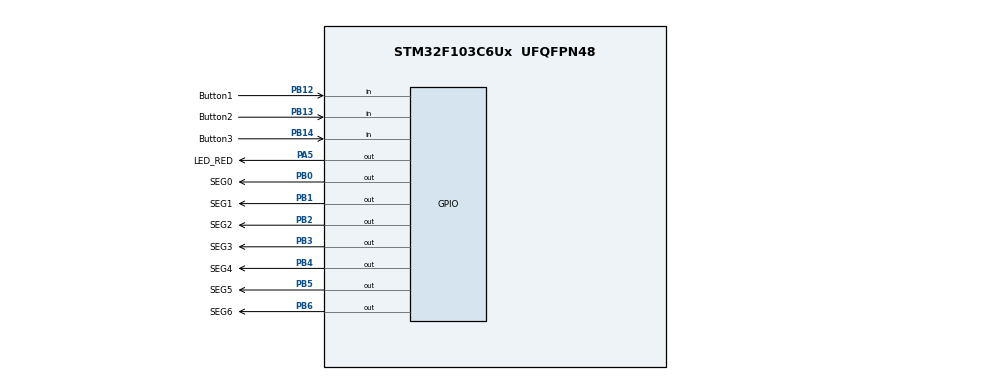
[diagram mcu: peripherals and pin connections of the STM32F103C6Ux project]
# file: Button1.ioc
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Mcu.Family=STM32F1
Mcu.Name=STM32F103C6Ux
Mcu.Package=UFQFPN48
NVIC.PriorityGroup=NVIC_PRIORITYGROUP_4
NVIC.TIM2_IRQn=true\:0\:0\:false\:false\:true\:true\:true
PA5.GPIO_Label=LED_RED
PA5.Signal=GPIO_Output
PB0.GPIO_Label=SEG0
PB0.Signal=GPIO_Output
PB1.GPIO_Label=SEG1
PB1.Signal=GPIO_Output
PB12.GPIO_Label=Button1
PB12.GPIO_PuPd=GPIO_PULLUP
PB12.Signal=GPIO_Input
PB13.GPIO_Label=Button2
PB13.GPIO_PuPd=GPIO_PULLUP
PB13.Signal=GPIO_Input
PB14.GPIO_Label=Button3
PB14.GPIO_PuPd=GPIO_PULLUP
PB14.Signal=GPIO_Input
PB2.GPIO_Label=SEG2
PB2.Signal=GPIO_Output
PB3.GPIO_Label=SEG3
PB3.Signal=GPIO_Output
PB4.GPIO_Label=SEG4
PB4.Signal=GPIO_Output
PB5.GPIO_Label=SEG5
PB5.Signal=GPIO_Output
PB6.GPIO_Label=SEG6
PB6.Signal=GPIO_Output
ProjectManager.HeapSize=0x200
ProjectManager.StackSize=0x400
ProjectManager.TargetToolchain=STM32CubeIDE
RCC.APB1Freq_Value=8000000
RCC.APB2Freq_Value=8000000
TIM2.Period=9
TIM2.Prescaler=7999
VP_SYS_VS_ND.Mode=No_Debug
VP_TIM2_VS_ClockSourceINT.Mode=Internal
board=custom

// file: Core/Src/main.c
/* USER CODE BEGIN Header */
/**
  ******************************************************************************
  * @file           : main.c
  * @brief          : Main program body
  ******************************************************************************
  * @attention
  *
  * <h2><center>&copy; Copyright (c) 2022 STMicroelectronics.
  * All rights reserved.</center></h2>
  *
  * This software component is licensed by ST under BSD 3-Clause license,
  * the "License"; You may not use this file except in compliance with the
  * License. You may obtain a copy of the License at:
  *                        opensource.org/licenses/BSD-3-Clause
  *
  ******************************************************************************
  */
/* USER CODE END Header */
#include "main.h"

/* USER CODE BEGIN Includes */
#include "Software_timer.h"
#include "button.h"
#include "State_Machine.h"
#include "Display.h"
#include "global.h"
/* USER CODE END Includes */

TIM_HandleTypeDef htim2;

void SystemClock_Config(void);
static void MX_GPIO_Init(void);
static void MX_TIM2_Init(void);

int main(void)
{

  /* MCU Configuration--------------------------------------------------------*/

  /* Reset of all peripherals, Initializes the Flash interface and the Systick. */
  HAL_Init();

  /* Configure the system clock */
  SystemClock_Config();

  /* Initialize all configured peripherals */
  MX_GPIO_Init();
  MX_TIM2_Init();
  /* USER CODE BEGIN 2 */
  HAL_TIM_Base_Start_IT (&htim2);
  /* USER CODE END 2 */

  /* Infinite loop */
  /* USER CODE BEGIN WHILE */
  status=INIT;

  setTimer2(10);
  setTimer3(10);
  while (1)
  {
	  display7SEG(Counter);
	  Blink_Red_Led();
	  fsm_simple_buttons_run();
	  fsm_long_press_run();

    /* USER CODE END WHILE */

  }
}

void SystemClock_Config(void)
{
  RCC_OscInitTypeDef RCC_OscInitStruct = {0};
  RCC_ClkInitTypeDef RCC_ClkInitStruct = {0};

  /** Initializes the RCC Oscillators according to the specified parameters
  * in the RCC_OscInitTypeDef structure.
  */
  RCC_OscInitStruct.OscillatorType = RCC_OSCILLATORTYPE_HSI;
  RCC_OscInitStruct.HSIState = RCC_HSI_ON;
  RCC_OscInitStruct.HSICalibrationValue = RCC_HSICALIBRATION_DEFAULT;
  RCC_OscInitStruct.PLL.PLLState = RCC_PLL_NONE;
  if (HAL_RCC_OscConfig(&RCC_OscInitStruct) != HAL_OK)
  {
    Error_Handler();
  }
  /** Initializes the CPU, AHB and APB buses clocks
  */
  RCC_ClkInitStruct.ClockType = RCC_CLOCKTYPE_HCLK|RCC_CLOCKTYPE_SYSCLK
                              |RCC_CLOCKTYPE_PCLK1|RCC_CLOCKTYPE_PCLK2;
  RCC_ClkInitStruct.SYSCLKSource = RCC_SYSCLKSOURCE_HSI;
  RCC_ClkInitStruct.AHBCLKDivider = RCC_SYSCLK_DIV1;
  RCC_ClkInitStruct.APB1CLKDivider = RCC_HCLK_DIV1;
  RCC_ClkInitStruct.APB2CLKDivider = RCC_HCLK_DIV1;

  if (HAL_RCC_ClockConfig(&RCC_ClkInitStruct, FLASH_LATENCY_0) != HAL_OK)
  {
    Error_Handler();
  }
}

static void MX_TIM2_Init(void)
{

  TIM_ClockConfigTypeDef sClockSourceConfig = {0};
  TIM_MasterConfigTypeDef sMasterConfig = {0};

  htim2.Instance = TIM2;
  htim2.Init.Prescaler = 7999;
  htim2.Init.CounterMode = TIM_COUNTERMODE_UP;
  htim2.Init.Period = 9;
  htim2.Init.ClockDivision = TIM_CLOCKDIVISION_DIV1;
  htim2.Init.AutoReloadPreload = TIM_AUTORELOAD_PRELOAD_DISABLE;
  if (HAL_TIM_Base_Init(&htim2) != HAL_OK)
  {
    Error_Handler();
  }
  sClockSourceConfig.ClockSource = TIM_CLOCKSOURCE_INTERNAL;
  if (HAL_TIM_ConfigClockSource(&htim2, &sClockSourceConfig) != HAL_OK)
  {
    Error_Handler();
  }
  sMasterConfig.MasterOutputTrigger = TIM_TRGO_RESET;
  sMasterConfig.MasterSlaveMode = TIM_MASTERSLAVEMODE_DISABLE;
  if (HAL_TIMEx_MasterConfigSynchronization(&htim2, &sMasterConfig) != HAL_OK)
  {
    Error_Handler();
  }

}

static void MX_GPIO_Init(void)
{
  GPIO_InitTypeDef GPIO_InitStruct = {0};

  /* GPIO Ports Clock Enable */
  __HAL_RCC_GPIOA_CLK_ENABLE();
  __HAL_RCC_GPIOB_CLK_ENABLE();

  /*Configure GPIO pin Output Level */
  HAL_GPIO_WritePin(LED_RED_GPIO_Port, LED_RED_Pin, GPIO_PIN_RESET);

  /*Configure GPIO pin Output Level */
  HAL_GPIO_WritePin(GPIOB, SEG0_Pin|SEG1_Pin|SEG2_Pin|SEG3_Pin
                          |SEG4_Pin|SEG5_Pin|SEG6_Pin, GPIO_PIN_RESET);

  /*Configure GPIO pin : LED_RED_Pin */
  GPIO_InitStruct.Pin = LED_RED_Pin;
  GPIO_InitStruct.Mode = GPIO_MODE_OUTPUT_PP;
  GPIO_InitStruct.Pull = GPIO_NOPULL;
  GPIO_InitStruct.Speed = GPIO_SPEED_FREQ_LOW;
  HAL_GPIO_Init(LED_RED_GPIO_Port, &GPIO_InitStruct);

  /*Configure GPIO pins : SEG0_Pin SEG1_Pin SEG2_Pin SEG3_Pin
                           SEG4_Pin SEG5_Pin SEG6_Pin */
  GPIO_InitStruct.Pin = SEG0_Pin|SEG1_Pin|SEG2_Pin|SEG3_Pin
                          |SEG4_Pin|SEG5_Pin|SEG6_Pin;
  GPIO_InitStruct.Mode = GPIO_MODE_OUTPUT_PP;
  GPIO_InitStruct.Pull = GPIO_NOPULL;
  GPIO_InitStruct.Speed = GPIO_SPEED_FREQ_LOW;
  HAL_GPIO_Init(GPIOB, &GPIO_InitStruct);

  /*Configure GPIO pins : Button1_Pin Button2_Pin Button3_Pin */
  GPIO_InitStruct.Pin = Button1_Pin|Button2_Pin|Button3_Pin;
  GPIO_InitStruct.Mode = GPIO_MODE_INPUT;
  GPIO_InitStruct.Pull = GPIO_PULLUP;
  HAL_GPIO_Init(GPIOB, &GPIO_InitStruct);

}

/* USER CODE BEGIN 4 */
void HAL_TIM_PeriodElapsedCallback (TIM_HandleTypeDef * htim)
{
	timerRun();
	getKeyInput();
}
/* USER CODE END 4 */

void Error_Handler(void)
{
  __disable_irq();
  while (1)
  {
  }
}

/************************ (C) COPYRIGHT STMicroelectronics *****END OF FILE****/
